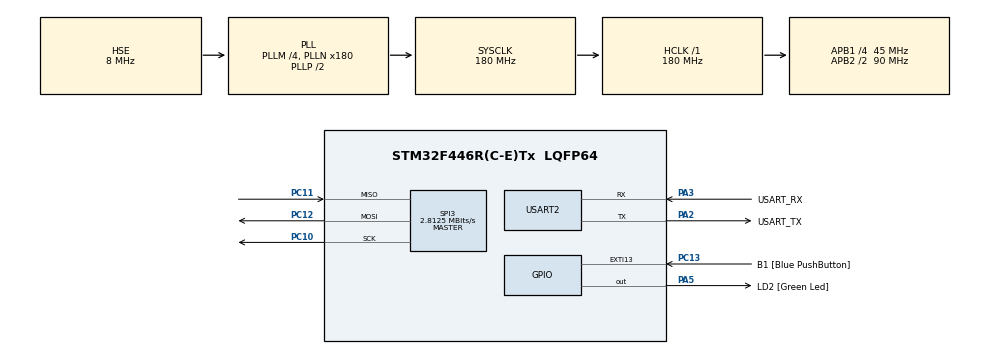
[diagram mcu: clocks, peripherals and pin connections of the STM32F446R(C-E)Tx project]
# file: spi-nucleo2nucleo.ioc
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Mcu.Family=STM32F4
Mcu.Name=STM32F446R(C-E)Tx
Mcu.Package=LQFP64
NVIC.PriorityGroup=NVIC_PRIORITYGROUP_0
PA13.GPIO_Label=TMS
PA13.Mode=Serial_Wire
PA13.Signal=SYS_JTMS-SWDIO
PA14.GPIO_Label=TCK
PA14.Mode=Serial_Wire
PA14.Signal=SYS_JTCK-SWCLK
PA2.GPIO_Label=USART_TX
PA2.Mode=Asynchronous
PA2.Signal=USART2_TX
PA3.GPIO_Label=USART_RX
PA3.Mode=Asynchronous
PA3.Signal=USART2_RX
PA5.GPIO_Label=LD2 [Green Led]
PA5.Signal=GPIO_Output
PB3.GPIO_Label=SWO
PB3.Signal=SYS_JTDO-SWO
PC10.Mode=Full_Duplex_Master
PC10.Signal=SPI3_SCK
PC11.Mode=Full_Duplex_Master
PC11.Signal=SPI3_MISO
PC12.Mode=Full_Duplex_Master
PC12.Signal=SPI3_MOSI
PC13.GPIO_Label=B1 [Blue PushButton]
PC13.GPIO_ModeDefaultEXTI=GPIO_MODE_IT_FALLING
PC13.Signal=GPXTI13
PC14-OSC32_IN.Mode=LSE-External-Oscillator
PC14-OSC32_IN.Signal=RCC_OSC32_IN
PC15-OSC32_OUT.Mode=LSE-External-Oscillator
PC15-OSC32_OUT.Signal=RCC_OSC32_OUT
PH0-OSC_IN.Mode=HSE-External-Oscillator
PH0-OSC_IN.Signal=RCC_OSC_IN
PH1-OSC_OUT.Mode=HSE-External-Oscillator
PH1-OSC_OUT.Signal=RCC_OSC_OUT
ProjectManager.HeapSize=0x200
ProjectManager.StackSize=0x400
ProjectManager.TargetToolchain=SW4STM32
RCC.48MHZClocksFreq_Value=84000000
RCC.AHBFreq_Value=180000000
RCC.APB1CLKDivider=RCC_HCLK_DIV4
RCC.APB1Freq_Value=45000000
RCC.APB1TimFreq_Value=90000000
RCC.APB2CLKDivider=RCC_HCLK_DIV2
RCC.APB2Freq_Value=90000000
RCC.APB2TimFreq_Value=180000000
RCC.CortexFreq_Value=180000000
RCC.FLatency-AdvancedSettings=FLASH_LATENCY_5
RCC.HCLKFreq_Value=180000000
RCC.HSE_VALUE=8000000
RCC.HSI_VALUE=16000000
RCC.PLLM=4
RCC.PLLN=180
RCC.PLLSourceVirtual=RCC_PLLSOURCE_HSE
RCC.SYSCLKFreq_VALUE=180000000
RCC.SYSCLKSource=RCC_SYSCLKSOURCE_PLLCLK
RCC.USBFreq_Value=180000000
RCC.VCOOutputFreq_Value=360000000
SPI3.BaudRatePrescaler=SPI_BAUDRATEPRESCALER_16
SPI3.CalculateBaudRate=2.8125 MBits/s
SPI3.Direction=SPI_DIRECTION_2LINES
SPI3.Mode=SPI_MODE_MASTER
SPI3.VirtualType=VM_MASTER
USART2.VirtualMode=VM_ASYNC
board=NUCLEO-F446RE

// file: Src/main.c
/**
  ******************************************************************************
  * @file           : main.c
  * @brief          : Main program body
  ******************************************************************************
  ** This notice applies to any and all portions of this file
  * that are not between comment pairs USER CODE BEGIN and
  * USER CODE END. Other portions of this file, whether
  * inserted by the user or by software development tools
  * are owned by their respective copyright owners.
  *
  * COPYRIGHT(c) 2018 STMicroelectronics
  *
  * Redistribution and use in source and binary forms, with or without modification,
  * are permitted provided that the following conditions are met:
  *   1. Redistributions of source code must retain the above copyright notice,
  *      this list of conditions and the following disclaimer.
  *   2. Redistributions in binary form must reproduce the above copyright notice,
  *      this list of conditions and the following disclaimer in the documentation
  *      and/or other materials provided with the distribution.
  *   3. Neither the name of STMicroelectronics nor the names of its contributors
  *      may be used to endorse or promote products derived from this software
  *      without specific prior written permission.
  *
  * THIS SOFTWARE IS PROVIDED BY THE COPYRIGHT HOLDERS AND CONTRIBUTORS "AS IS"
  * AND ANY EXPRESS OR IMPLIED WARRANTIES, INCLUDING, BUT NOT LIMITED TO, THE
  * IMPLIED WARRANTIES OF MERCHANTABILITY AND FITNESS FOR A PARTICULAR PURPOSE ARE
  * DISCLAIMED. IN NO EVENT SHALL THE COPYRIGHT HOLDER OR CONTRIBUTORS BE LIABLE
  * FOR ANY DIRECT, INDIRECT, INCIDENTAL, SPECIAL, EXEMPLARY, OR CONSEQUENTIAL
  * DAMAGES (INCLUDING, BUT NOT LIMITED TO, PROCUREMENT OF SUBSTITUTE GOODS OR
  * SERVICES; LOSS OF USE, DATA, OR PROFITS; OR BUSINESS INTERRUPTION) HOWEVER
  * CAUSED AND ON ANY THEORY OF LIABILITY, WHETHER IN CONTRACT, STRICT LIABILITY,
  * OR TORT (INCLUDING NEGLIGENCE OR OTHERWISE) ARISING IN ANY WAY OUT OF THE USE
  * OF THIS SOFTWARE, EVEN IF ADVISED OF THE POSSIBILITY OF SUCH DAMAGE.
  *
  ******************************************************************************
  */
#include "main.h"
#include "stm32f4xx_hal.h"
#include "spi.h"
#include "usart.h"
#include "gpio.h"

/* USER CODE BEGIN Includes */

#include "lcd.h"

/* USER CODE END Includes */

/* USER CODE BEGIN PV */
/* Private variables ---------------------------------------------------------*/
#define MASTER_BOARD
#define countOf(__BUFFER__)   (sizeof(__BUFFER__) / sizeof(*(__BUFFER__)))

#ifdef MASTER_BOARD
char aTxBuffer[] = "*** TechMaker Hello from Master ***";
#else
char aTxBuffer[] = "*** TechMaker Hello from Slave! ***";
#endif
#define BUFFERSIZE (countOf(aTxBuffer) - 1)
char aRxBuffer[BUFFERSIZE];
HAL_StatusTypeDef result;

/* USER CODE END PV */

void SystemClock_Config(void);

/* USER CODE BEGIN PFP */
/* Private function prototypes -----------------------------------------------*/

/* USER CODE END PFP */

int main(void)
{

  /* MCU Configuration----------------------------------------------------------*/

  /* Reset of all peripherals, Initializes the Flash interface and the Systick. */
  HAL_Init();

  /* USER CODE BEGIN Init */
  #ifndef MASTER_BOARD
	hspi3.Init.Mode = SPI_MODE_SLAVE;
	HAL_SPI_Init(&hspi3);
  #endif

  LCD_Init();

  /* USER CODE END Init */

  /* Configure the system clock */
  SystemClock_Config();

  /* Initialize all configured peripherals */
  MX_GPIO_Init();
  MX_USART2_UART_Init();
  MX_SPI3_Init();

  /* Infinite loop */
  while (1)
  {

  /* USER CODE BEGIN 3 */
        #ifdef MASTER_BOARD
		while (!HAL_GPIO_ReadPin(GPIOC, GPIO_PIN_13));
		LCD_Printf("Push button to start transmission");
		while (HAL_GPIO_ReadPin(GPIOC, GPIO_PIN_13));
        #endif
		result = HAL_SPI_TransmitReceive(&hspi3, (uint8_t*) aTxBuffer, (uint8_t *) aRxBuffer, BUFFERSIZE, 0xFFFFFFFF);
		if (result == HAL_OK) {
			LCD_Printf("%s\n", aRxBuffer);
		}
  }
  /* USER CODE END 3 */

}

void SystemClock_Config(void)
{

  RCC_OscInitTypeDef RCC_OscInitStruct;
  RCC_ClkInitTypeDef RCC_ClkInitStruct;

    /**Configure the main internal regulator output voltage
    */
  __HAL_RCC_PWR_CLK_ENABLE();

  __HAL_PWR_VOLTAGESCALING_CONFIG(PWR_REGULATOR_VOLTAGE_SCALE1);

    /**Initializes the CPU, AHB and APB busses clocks
    */
  RCC_OscInitStruct.OscillatorType = RCC_OSCILLATORTYPE_HSE;
  RCC_OscInitStruct.HSEState = RCC_HSE_ON;
  RCC_OscInitStruct.PLL.PLLState = RCC_PLL_ON;
  RCC_OscInitStruct.PLL.PLLSource = RCC_PLLSOURCE_HSE;
  RCC_OscInitStruct.PLL.PLLM = 4;
  RCC_OscInitStruct.PLL.PLLN = 180;
  RCC_OscInitStruct.PLL.PLLP = RCC_PLLP_DIV2;
  RCC_OscInitStruct.PLL.PLLQ = 2;
  RCC_OscInitStruct.PLL.PLLR = 2;
  if (HAL_RCC_OscConfig(&RCC_OscInitStruct) != HAL_OK)
  {
    _Error_Handler(__FILE__, __LINE__);
  }

    /**Activate the Over-Drive mode
    */
  if (HAL_PWREx_EnableOverDrive() != HAL_OK)
  {
    _Error_Handler(__FILE__, __LINE__);
  }

    /**Initializes the CPU, AHB and APB busses clocks
    */
  RCC_ClkInitStruct.ClockType = RCC_CLOCKTYPE_HCLK|RCC_CLOCKTYPE_SYSCLK
                              |RCC_CLOCKTYPE_PCLK1|RCC_CLOCKTYPE_PCLK2;
  RCC_ClkInitStruct.SYSCLKSource = RCC_SYSCLKSOURCE_PLLCLK;
  RCC_ClkInitStruct.AHBCLKDivider = RCC_SYSCLK_DIV1;
  RCC_ClkInitStruct.APB1CLKDivider = RCC_HCLK_DIV4;
  RCC_ClkInitStruct.APB2CLKDivider = RCC_HCLK_DIV2;

  if (HAL_RCC_ClockConfig(&RCC_ClkInitStruct, FLASH_LATENCY_5) != HAL_OK)
  {
    _Error_Handler(__FILE__, __LINE__);
  }

    /**Configure the Systick interrupt time
    */
  HAL_SYSTICK_Config(HAL_RCC_GetHCLKFreq()/1000);

    /**Configure the Systick
    */
  HAL_SYSTICK_CLKSourceConfig(SYSTICK_CLKSOURCE_HCLK);

  /* SysTick_IRQn interrupt configuration */
  HAL_NVIC_SetPriority(SysTick_IRQn, 0, 0);
}

void _Error_Handler(char *file, int line)
{
  while(1)
  {
  }
}

/************************ (C) COPYRIGHT STMicroelectronics *****END OF FILE****/
